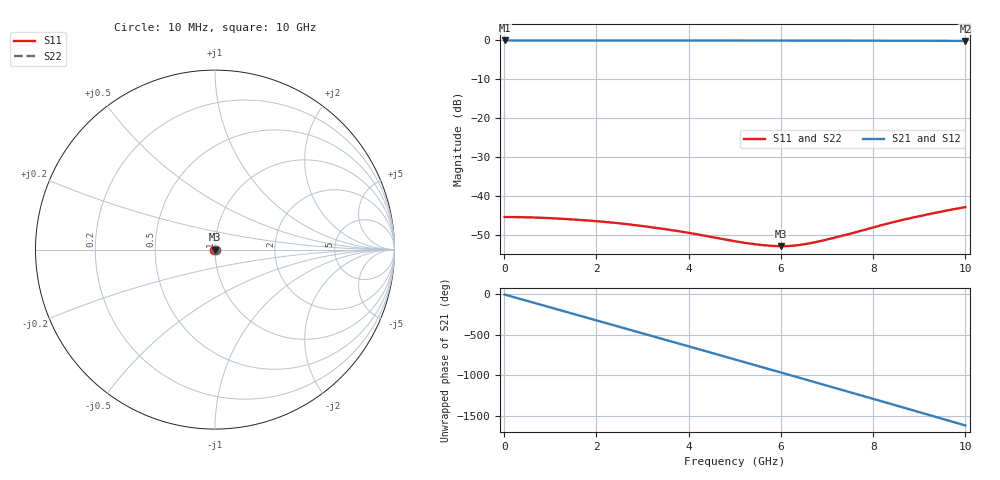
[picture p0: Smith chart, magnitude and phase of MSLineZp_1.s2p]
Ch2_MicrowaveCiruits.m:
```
%% CH2 Microwave Circuits
%%% Physical parameteres
cc=2.997925e8;        %Velocidade da luz
e0=8.854223e-12;  %Permissividade absoluta do meio
u0=1.256640e-6;       %Permeabilidade absoluta do meio
eta=sqrt(u0/e0);       %Impedancia do meio
er1=2
sig1=0
eta=sqrt(u0/e0);       %Impedancia do meio

pathMS='H:\Meu Drive\SocieForParaOPlay\SpectralBook\CSTFiles\';
% fileMSL25=[pathMS,'MSLinePar_L25.s2p'];
% fileMSL50=[pathMS,'MSLinePar_L50.s2p'];
fileMSL100=[pathMS,'MSLineZp_1.s2p'];

% sparMS25=sparameters (fileMSL25)
% sparMS50=sparameters (fileMSL50)
sparL100=sparameters (fileMSL100)
S11=squeeze(sparL100.Parameters(1,1,:))
S21=squeeze(sparL100.Parameters(2,1,:))
S12=squeeze(sparL100.Parameters(1,2,:))
S22=squeeze(sparL100.Parameters(2,2,:))


f=sparL100.Frequencies % Frequencies
ereff1=er1*(1-i*sig1./(2*pi*f*e0*er1));       %Impedancia do meio
w=2.62e-3;L=100e-3;
h=0.8e-3

% tx1=rfckt.microstrip('Width',w,'EpsilonR',er1,'LineLength',L,'Height',h)
% tx1
% analyze(tx1,f)
% z0 = getz0(tx1)
figure

subplot 221
plot(f/1e9,20*10*log10(abs(S11)),'-b','LineWidth',2),hold on;
% legend(Leg,'FontSize',12,'FontWeight','bold')
xlabel('\theta(º)','FontSize',14,'FontWeight','bold')
ylabel('Mag (dB)','FontSize',14,'FontWeight','bold')
ax = gca
ax.XAxis.FontSize = 18;
ax.YAxis.FontSize = 18;
grid on

subplot 222
plot(f/1e9,180/pi*(angle(S11)),'-b','LineWidth',2),hold on;
% legend(Leg,'FontSize',12,'FontWeight','bold')
xlabel('\theta(º)','FontSize',14,'FontWeight','bold')
ylabel('Mag (dB)','FontSize',14,'FontWeight','bold')
ax = gca
ax.XAxis.FontSize = 18;
ax.YAxis.FontSize = 18;
grid on
%%
```
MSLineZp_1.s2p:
! TOUCHSTONE file generated by CST MICROWAVE STUDIO
! Date and time: Wed Feb 19 21:08:26 2025
! Project name: MSLineZp1.cst
! Parameters = {Zp1=50; Zp2=50; C=0; L=100; Lamb=0.05; Li=0; R=1e-13; W=20; dlump=2; er=2; h=0.8; w1=2.62}
! Header version: 2024
! Port assignment regex: !\s*Touchstone port\s*([0-9]+)\s*=\s*(CST MWS port|CST DES external port|CST DES block port)\s*(.+)\s* \(\"(.*)\"\)(\s*mode\s*([0-9]+))?.*
! Touchstone port assignment:
! Touchstone port 1 = CST MWS port 1 ("")
! Touchstone port 2 = CST MWS port 2 ("")
# GHz S MA R 50
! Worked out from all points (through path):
!   1000 points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, 10 MHz to 10 GHz, reference 50 ohm
!   highest |S21| = 0.00 dB at 10 MHz (marker M1); lowest = -0.1 dB at 10 GHz (marker M2)
!   group delay of S21, straight-line fit = 449 ps
!   lowest |S11| = -52.8 dB at 6.01 GHz (marker M3), VSWR 1.00, Z = 49.8 - j0.0447 ohm
!   |S11| at or under -10 dB: start of sweep to end of sweep
!   |S22| runs from -52.8 to -42.8 dB; largest |S21 - S12| = 1.7e-06
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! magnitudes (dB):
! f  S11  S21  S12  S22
! 10 MHz  -45.3  0.0  0.0  -45.3
! 1.16 GHz  -45.7  0.0  0.0  -45.7
! 2.48 GHz  -46.9  0.0  0.0  -46.9
! 3.73 GHz  -48.9  0.0  0.0  -48.9
! 5.01 GHz  -51.5  0.0  0.0  -51.5
! 5.58 GHz  -52.5  0.0  0.0  -52.5
! 6.01 GHz  -52.8  0.0  0.0  -52.8
! 6.36 GHz  -52.6  0.0  0.0  -52.6
! 6.75 GHz  -51.8  0.0  0.0  -51.8
! 8.63 GHz  -46.1  -0.1  -0.1  -46.1
! 10 GHz  -42.8  -0.1  -0.1  -42.8
